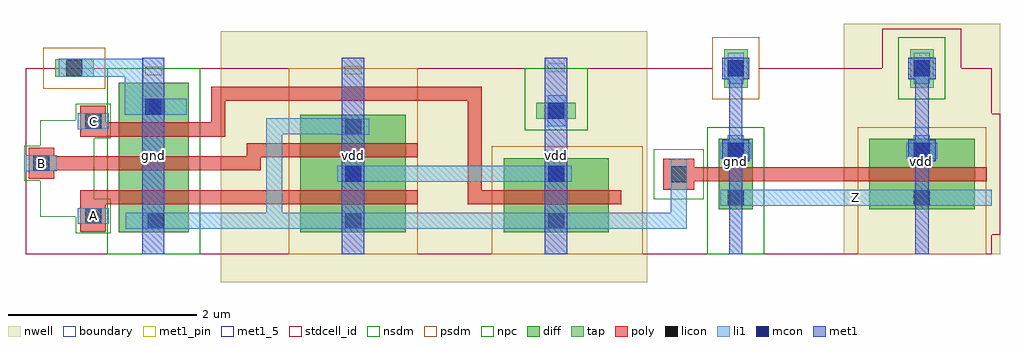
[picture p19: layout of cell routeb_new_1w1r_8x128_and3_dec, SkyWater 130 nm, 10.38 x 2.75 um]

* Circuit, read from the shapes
.subckt routeb_new_1w1r_8x128_and3_dec A B C Z gnd vdd
XM1 n1 A routeb_new_1w1r_8x128_pinv_dec_1/A gnd sky130_fd_pr__nfet_01v8 w=0.74 l=0.15
XM2 n2 B n1 gnd sky130_fd_pr__nfet_01v8 w=0.74 l=0.15
XM3 gnd C n2 gnd sky130_fd_pr__nfet_01v8 w=0.74 l=0.15
XM4 gnd routeb_new_1w1r_8x128_pinv_dec_1/A Z gnd sky130_fd_pr__nfet_01v8 w=0.36 l=0.15
XM5 vdd A routeb_new_1w1r_8x128_pinv_dec_1/A vdd sky130_fd_pr__pfet_01v8 w=1.12 l=0.15
XM6 routeb_new_1w1r_8x128_pinv_dec_1/A B vdd vdd sky130_fd_pr__pfet_01v8 w=1.12 l=0.15
XM7 vdd C routeb_new_1w1r_8x128_pinv_dec_1/A vdd sky130_fd_pr__pfet_01v8 w=1.12 l=0.15
XM8 vdd routeb_new_1w1r_8x128_pinv_dec_1/A Z vdd sky130_fd_pr__pfet_01v8 w=1.12 l=0.15
.ends

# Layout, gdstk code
from math import pi, radians
import gdstk
lib = gdstk.Library(unit=1e-6, precision=1e-09)
def R(c, l, rs):  # rectangles x0, y0, x1, y1
    for r in rs: c.add(gdstk.rectangle(r[:2], r[2:], *l))
def A(c, l, x, y, w, h, nx, ny, dx, dy):  # array of equal rectangles
    R(c, l, [(x+i*dx, y+j*dy, x+i*dx+w, y+j*dy+h) for i in range(nx) for j in range(ny)])
nwell = (64, 20)
diff = (65, 20)
tap = (65, 44)
poly = (66, 20)
licon = (66, 44)
li1 = (67, 20)
mcon = (67, 44)
met1_5 = (68, 5)
met1_pin = (68, 16)
met1 = (68, 20)
stdcell_id = (81, 4)
nsdm = (93, 44)
psdm = (94, 20)
npc = (95, 20)
boundary = (235, 4)

sky130_fd_bd_sram__openr = lib.new_cell('sky130_fd_bd_sram__openram_dp_nand3_dec')
R(sky130_fd_bd_sram__openr, nwell, [(2.07,-0.3,6.61,2.37)])
R(sky130_fd_bd_sram__openr, diff, [(0.99,0.23,1.73,1.82), (2.92,0.23,4.04,1.48), (5.08,0.23,6.2,1.02)])
R(sky130_fd_bd_sram__openr, tap, [(5.43,1.44,5.85,1.61), (0.31,1.885,0.72,2.07)])
R(sky130_fd_bd_sram__openr, poly, [(0.58,0.24,0.85,0.53), (0.58,0.53,4.17,0.68), (4.7,0.53,6.33,0.68), (4.7,0.68,4.85,1.63), (0.03,0.8,0.3,0.89), (0.03,0.89,2.5,1.03), (0.03,1.03,4.17,1.04), (0.03,1.04,0.3,1.13), (2.35,1.04,4.17,1.18), (0.58,1.25,2.12,1.4), (0.58,1.4,0.85,1.58), (1.97,1.4,2.12,1.63), (1.97,1.63,4.85,1.78)])
A(sky130_fd_bd_sram__openr, licon, 3.395, 0.27, 0.17, 0.17, 1, 3, 0, 0.5)
R(sky130_fd_bd_sram__openr, licon, [(1.295,0.27,1.465,0.44), (5.555,0.27,5.725,0.44), (0.63,0.32,0.8,0.49), (5.555,0.77,5.725,0.94), (0.08,0.88,0.25,1.05), (0.63,1.33,0.8,1.5), (5.55,1.44,5.72,1.61), (1.305,1.48,1.475,1.65), (0.43,1.89,0.6,2.06)])
R(sky130_fd_bd_sram__openr, li1, [(1.06,0.27,6.61,0.44), (1.06,0.27,6.61,0.44), (0.55,0.32,0.88,0.49), (0.55,0.32,0.88,0.49), (2.555,0.44,2.725,1.275), (3.31,0.77,5.805,0.94), (0,0.88,0.33,1.05), (0,0.88,0.33,1.05), (3.31,1.27,3.65,1.275), (2.555,1.275,3.65,1.44), (0.55,1.33,0.88,1.5), (0.55,1.33,0.88,1.5), (5.55,1.36,5.74,1.69), (2.555,1.44,3.435,1.445), (1.05,1.48,1.71,1.65), (1.05,1.65,1.25,1.885), (0.35,1.885,1.25,2.075)])
R(sky130_fd_bd_sram__openr, mcon, [(3.395,0.77,3.565,0.94), (5.555,0.77,5.725,0.94), (5.555,1.44,5.725,1.61), (1.27,1.48,1.44,1.65)])
R(sky130_fd_bd_sram__openr, met1_5, [(1.24,0,1.47,2.09), (3.36,0,3.6,2.09), (5.52,0,5.76,2.09)])
R(sky130_fd_bd_sram__openr, met1_pin, [(1.27,1.9,1.45,1.99), (3.39,1.91,3.57,2), (5.55,1.94,5.73,2.03)])
R(sky130_fd_bd_sram__openr, met1, [(1.24,0,1.47,2.09), (1.24,0,1.47,2.09), (3.36,0,3.6,2.09), (3.36,0,3.6,2.09), (5.52,0,5.76,2.09), (5.52,0,5.76,2.09)])
R(sky130_fd_bd_sram__openr, nsdm, [(0.865,0,1.855,1.975), (5.305,1.315,5.975,1.975)])
R(sky130_fd_bd_sram__openr, psdm, [(2.795,0,4.165,1.975), (4.955,0,6.56,1.145), (0.185,1.76,0.845,2.195)])
R(sky130_fd_bd_sram__openr, npc, [(0.53,0.22,0.9,0.395), (0.155,0.395,0.9,0.59), (0.155,0.59,0.725,0.78), (-0.02,0.78,0.725,1.15), (0.155,1.15,0.725,1.23), (0.155,1.23,0.9,1.425), (0.53,1.425,0.9,1.6)])
R(sky130_fd_bd_sram__openr, boundary, [(0,0,6.56,1.975)])
sky130_fd_bd_sram__openr.add(gdstk.Label('VDD', (3.48,1.955), layer=68, texttype=16))
sky130_fd_bd_sram__openr.add(gdstk.Label('VDD', (5.64,1.985), layer=68, texttype=16))
sky130_fd_bd_sram__openr.add(gdstk.Label('GND', (1.36,1.945), layer=68, texttype=16))
sky130_fd_bd_sram__openr.add(gdstk.Label('C', (0.7,1.42), layer=67, texttype=16))
sky130_fd_bd_sram__openr.add(gdstk.Label('Z', (6.47,0.355), layer=67, texttype=16))
sky130_fd_bd_sram__openr.add(gdstk.Label('B', (0.15,0.98), layer=67, texttype=16))
sky130_fd_bd_sram__openr.add(gdstk.Label('A', (0.7,0.42), layer=67, texttype=16))
sky130_fd_bd_sram__openr.add(gdstk.Label('A', (0.715,0.405), layer=67, texttype=5))
sky130_fd_bd_sram__openr.add(gdstk.Label('B', (0.165,0.965), layer=67, texttype=5))
sky130_fd_bd_sram__openr.add(gdstk.Label('C', (0.715,1.415), layer=67, texttype=5))
sky130_fd_bd_sram__openr.add(gdstk.Label('Z', (3.835,0.355), layer=67, texttype=5))
sky130_fd_bd_sram__openr.add(gdstk.Label('vdd', (3.48,1.045), layer=68, texttype=5))
sky130_fd_bd_sram__openr.add(gdstk.Label('vdd', (5.64,1.045), layer=68, texttype=5))
sky130_fd_bd_sram__openr.add(gdstk.Label('gnd', (1.355,1.045), layer=68, texttype=5))

routeb_new_1w1r_8x128_co = lib.new_cell('routeb_new_1w1r_8x128_contact_11')
R(routeb_new_1w1r_8x128_co, nwell, [(-0.295,-0.255,0.545,0.585)])
R(routeb_new_1w1r_8x128_co, diff, [(0,0.02,0.25,0.31)])
R(routeb_new_1w1r_8x128_co, licon, [(0.04,0.08,0.21,0.25)])
R(routeb_new_1w1r_8x128_co, li1, [(0.04,0,0.21,0.33)])
R(routeb_new_1w1r_8x128_co, stdcell_id, [(-0.295,-0.255,0.545,0.585)])
R(routeb_new_1w1r_8x128_co, psdm, [(-0.125,-0.105,0.375,0.435)])
R(routeb_new_1w1r_8x128_co, boundary, [(-0.295,-0.255,0.545,0.585)])

routeb_new_1w1r_8x128_pm = lib.new_cell('routeb_new_1w1r_8x128_pmos_m1_w1_120_sli_dli_da_p')
R(routeb_new_1w1r_8x128_pm, nwell, [(-0.27,-0.27,1.02,1.39)])
R(routeb_new_1w1r_8x128_pm, diff, [(0,0,0.75,1.12)])
R(routeb_new_1w1r_8x128_pm, poly, [(0.3,-0.13,0.45,1.25), (0.3,-0.13,0.45,1.25)])
R(routeb_new_1w1r_8x128_pm, li1, [(0.04,0.395,0.21,0.725), (0.54,0.395,0.71,0.725)])
R(routeb_new_1w1r_8x128_pm, stdcell_id, [(-0.27,-0.27,1.02,1.39)])
R(routeb_new_1w1r_8x128_pm, psdm, [(-0.125,-0.125,0.875,1.245)])
R(routeb_new_1w1r_8x128_pm, boundary, [(-0.27,-0.27,1.02,1.39)])
routeb_new_1w1r_8x128_pm.add(gdstk.Reference(routeb_new_1w1r_8x128_co, (0,0.395)))
routeb_new_1w1r_8x128_pm.add(gdstk.Reference(routeb_new_1w1r_8x128_co, (0.5,0.395)))
routeb_new_1w1r_8x128_pm.add(gdstk.Label('G', (0.375,0.56), layer=66, texttype=5))
routeb_new_1w1r_8x128_pm.add(gdstk.Label('S', (0.125,0.56), layer=67, texttype=5))
routeb_new_1w1r_8x128_pm.add(gdstk.Label('D', (0.625,0.56), layer=67, texttype=5))

c_routeb_new_1w1r_8x128_co = lib.new_cell('routeb_new_1w1r_8x128_contact_10')
R(c_routeb_new_1w1r_8x128_co, diff, [(0,0.02,0.25,0.31)])
R(c_routeb_new_1w1r_8x128_co, licon, [(0.04,0.08,0.21,0.25)])
R(c_routeb_new_1w1r_8x128_co, li1, [(0.04,0,0.21,0.33)])
R(c_routeb_new_1w1r_8x128_co, stdcell_id, [(-0.125,-0.105,0.375,0.435)])
R(c_routeb_new_1w1r_8x128_co, nsdm, [(-0.125,-0.105,0.375,0.435)])
R(c_routeb_new_1w1r_8x128_co, boundary, [(-0.125,-0.105,0.375,0.435)])

routeb_new_1w1r_8x128_nm = lib.new_cell('routeb_new_1w1r_8x128_nmos_m1_w0_360_sli_dli_da_p')
R(routeb_new_1w1r_8x128_nm, diff, [(0,0,0.75,0.36)])
R(routeb_new_1w1r_8x128_nm, poly, [(0.3,-0.13,0.45,0.49), (0.3,-0.13,0.45,0.49)])
R(routeb_new_1w1r_8x128_nm, li1, [(0.04,0.015,0.21,0.345), (0.54,0.015,0.71,0.345)])
R(routeb_new_1w1r_8x128_nm, stdcell_id, [(-0.125,-0.13,0.875,0.49)])
R(routeb_new_1w1r_8x128_nm, nsdm, [(-0.125,-0.125,0.875,0.485)])
R(routeb_new_1w1r_8x128_nm, boundary, [(-0.125,-0.13,0.875,0.49)])
routeb_new_1w1r_8x128_nm.add(gdstk.Reference(c_routeb_new_1w1r_8x128_co, (0,0.015)))
routeb_new_1w1r_8x128_nm.add(gdstk.Reference(c_routeb_new_1w1r_8x128_co, (0.5,0.015)))
routeb_new_1w1r_8x128_nm.add(gdstk.Label('G', (0.375,0.18), layer=66, texttype=5))
routeb_new_1w1r_8x128_nm.add(gdstk.Label('S', (0.125,0.18), layer=67, texttype=5))
routeb_new_1w1r_8x128_nm.add(gdstk.Label('D', (0.625,0.18), layer=67, texttype=5))

c_routeb_new_1w1r_8x128_co_ = lib.new_cell('routeb_new_1w1r_8x128_contact_12')
R(c_routeb_new_1w1r_8x128_co_, nwell, [(-0.295,-0.215,0.545,0.625)])
R(c_routeb_new_1w1r_8x128_co_, tap, [(0,0,0.25,0.41)])
R(c_routeb_new_1w1r_8x128_co_, licon, [(0.04,0.12,0.21,0.29)])
R(c_routeb_new_1w1r_8x128_co_, li1, [(0.04,0.04,0.21,0.37)])
R(c_routeb_new_1w1r_8x128_co_, stdcell_id, [(-0.295,-0.215,0.545,0.625)])
R(c_routeb_new_1w1r_8x128_co_, nsdm, [(-0.125,-0.125,0.375,0.535)])
R(c_routeb_new_1w1r_8x128_co_, boundary, [(-0.295,-0.215,0.545,0.625)])

c_routeb_new_1w1r_8x128_co__ = lib.new_cell('routeb_new_1w1r_8x128_contact_13')
R(c_routeb_new_1w1r_8x128_co__, li1, [(0.06,0,0.23,0.33)])
R(c_routeb_new_1w1r_8x128_co__, mcon, [(0.06,0.08,0.23,0.25)])
R(c_routeb_new_1w1r_8x128_co__, met1, [(0,0.05,0.29,0.28)])
R(c_routeb_new_1w1r_8x128_co__, stdcell_id, [(0,0,0.29,0.33)])
R(c_routeb_new_1w1r_8x128_co__, boundary, [(0,0,0.29,0.33)])

c_routeb_new_1w1r_8x128_co___ = lib.new_cell('routeb_new_1w1r_8x128_contact_14')
R(c_routeb_new_1w1r_8x128_co___, tap, [(0,0,0.25,0.41)])
R(c_routeb_new_1w1r_8x128_co___, licon, [(0.04,0.12,0.21,0.29)])
R(c_routeb_new_1w1r_8x128_co___, li1, [(0.04,0.04,0.21,0.37)])
R(c_routeb_new_1w1r_8x128_co___, stdcell_id, [(-0.125,-0.125,0.375,0.535)])
R(c_routeb_new_1w1r_8x128_co___, psdm, [(-0.125,-0.125,0.375,0.535)])
R(c_routeb_new_1w1r_8x128_co___, boundary, [(-0.125,-0.125,0.375,0.535)])

c_routeb_new_1w1r_8x128_co____ = lib.new_cell('routeb_new_1w1r_8x128_contact_15')
R(c_routeb_new_1w1r_8x128_co____, poly, [(0,0,0.33,0.33)])
R(c_routeb_new_1w1r_8x128_co____, licon, [(0.08,0.08,0.25,0.25)])
R(c_routeb_new_1w1r_8x128_co____, li1, [(0.08,0,0.25,0.33)])
R(c_routeb_new_1w1r_8x128_co____, stdcell_id, [(-0.1,-0.1,0.43,0.43)])
R(c_routeb_new_1w1r_8x128_co____, npc, [(-0.1,-0.1,0.43,0.43)])
R(c_routeb_new_1w1r_8x128_co____, boundary, [(-0.1,-0.1,0.43,0.43)])

routeb_new_1w1r_8x128_pi = lib.new_cell('routeb_new_1w1r_8x128_pinv_dec')
R(routeb_new_1w1r_8x128_pi, nwell, [(2.14,0,3.8,2.45)])
R(routeb_new_1w1r_8x128_pi, poly, [(0.385,0.775,0.68,0.925), (1.3,0.775,2.28,0.925)])
R(routeb_new_1w1r_8x128_pi, li1, [(0.825,0.515,3.71,0.685), (0.3,0.685,0.47,1.015)])
R(routeb_new_1w1r_8x128_pi, met1_5, [(0.92,0,1.06,1.975), (2.9,0,3.04,1.975)])
R(routeb_new_1w1r_8x128_pi, met1, [(0.92,0,1.06,1.975), (2.9,0,3.04,1.975)])
R(routeb_new_1w1r_8x128_pi, stdcell_id, [(0,0,3.71,1.975), (0,0,3.71,1.975)])
R(routeb_new_1w1r_8x128_pi, nsdm, [(0.685,0,1.295,1.225)])
R(routeb_new_1w1r_8x128_pi, psdm, [(2.285,0,3.655,1.225)])
R(routeb_new_1w1r_8x128_pi, boundary, [(0,0,3.71,1.975), (0,0,3.71,1.975)])
routeb_new_1w1r_8x128_pi.add(gdstk.Reference(routeb_new_1w1r_8x128_pm, (2.41,1.225), rotation=3*pi/2))
routeb_new_1w1r_8x128_pi.add(gdstk.Reference(routeb_new_1w1r_8x128_nm, (0.81,1.225), rotation=3*pi/2))
routeb_new_1w1r_8x128_pi.add(gdstk.Reference(c_routeb_new_1w1r_8x128_co_, (2.845,1.77)))
routeb_new_1w1r_8x128_pi.add(gdstk.Reference(c_routeb_new_1w1r_8x128_co__, (2.825,1.81)))
routeb_new_1w1r_8x128_pi.add(gdstk.Reference(c_routeb_new_1w1r_8x128_co___, (0.865,1.77)))
routeb_new_1w1r_8x128_pi.add(gdstk.Reference(c_routeb_new_1w1r_8x128_co__, (0.845,1.81)))
routeb_new_1w1r_8x128_pi.add(gdstk.Reference(c_routeb_new_1w1r_8x128_co____, (0.22,0.685)))
routeb_new_1w1r_8x128_pi.add(gdstk.Reference(c_routeb_new_1w1r_8x128_co__, (0.845,0.935)))
routeb_new_1w1r_8x128_pi.add(gdstk.Reference(c_routeb_new_1w1r_8x128_co__, (2.825,0.935)))
routeb_new_1w1r_8x128_pi.add(gdstk.Label('A', (0.385,0.85), layer=67, texttype=5))
routeb_new_1w1r_8x128_pi.add(gdstk.Label('Z', (2.268,0.6), layer=67, texttype=5))
routeb_new_1w1r_8x128_pi.add(gdstk.Label('gnd', (0.99,0.988), layer=68, texttype=5))
routeb_new_1w1r_8x128_pi.add(gdstk.Label('vdd', (2.97,0.988), layer=68, texttype=5))

routeb_new_1w1r_8x128_an = lib.new_cell('routeb_new_1w1r_8x128_and3_dec')
R(routeb_new_1w1r_8x128_an, li1, [(3.835,0.27,6.945,0.44), (6.86,0.27,7.03,0.44), (0.55,0.32,0.88,0.49), (6.86,0.355,7.03,0.85), (7.385,0.515,10.27,0.685), (0,0.88,0.33,1.05), (0.55,1.33,0.88,1.5)])
R(routeb_new_1w1r_8x128_an, met1_5, [(1.24,0,1.47,2.09), (3.36,0,3.6,2.09), (5.52,0,5.76,2.09), (7.48,0,7.62,1.975), (9.46,0,9.6,1.975)])
R(routeb_new_1w1r_8x128_an, met1, [(1.24,0,1.47,2.09), (3.36,0,3.6,2.09), (5.52,0,5.76,2.09), (7.48,0,7.62,1.975), (9.46,0,9.6,1.975)])
R(routeb_new_1w1r_8x128_an, stdcell_id, [(0,0,10.27,1.975)])
R(routeb_new_1w1r_8x128_an, boundary, [(0,0,10.27,1.975)])
routeb_new_1w1r_8x128_an.add(gdstk.Reference(sky130_fd_bd_sram__openr, (0,0)))
routeb_new_1w1r_8x128_an.add(gdstk.Reference(routeb_new_1w1r_8x128_pi, (6.56,0)))
routeb_new_1w1r_8x128_an.add(gdstk.Label('Z', (8.828,0.6), layer=67, texttype=5))
routeb_new_1w1r_8x128_an.add(gdstk.Label('A', (0.715,0.405), layer=67, texttype=5))
routeb_new_1w1r_8x128_an.add(gdstk.Label('B', (0.165,0.965), layer=67, texttype=5))
routeb_new_1w1r_8x128_an.add(gdstk.Label('C', (0.715,1.415), layer=67, texttype=5))
routeb_new_1w1r_8x128_an.add(gdstk.Label('vdd', (5.64,1.045), layer=68, texttype=5))
routeb_new_1w1r_8x128_an.add(gdstk.Label('vdd', (9.53,0.988), layer=68, texttype=5))
routeb_new_1w1r_8x128_an.add(gdstk.Label('vdd', (3.48,1.045), layer=68, texttype=5))
routeb_new_1w1r_8x128_an.add(gdstk.Label('gnd', (1.355,1.045), layer=68, texttype=5))
routeb_new_1w1r_8x128_an.add(gdstk.Label('gnd', (7.55,0.988), layer=68, texttype=5))

lib.write_gds('routeb_new_1w1r_8x128_and3_dec.gds')
